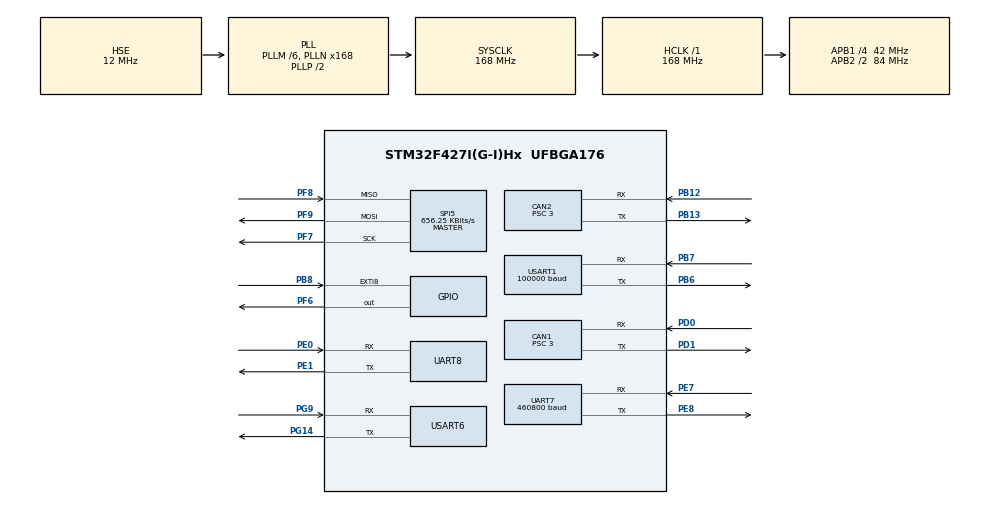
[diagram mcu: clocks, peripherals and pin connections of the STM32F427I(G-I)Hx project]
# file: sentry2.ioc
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CAN1.BS1=CAN_BS1_10TQ
CAN1.BS2=CAN_BS2_3TQ
CAN1.CalculateBaudRate=1000000
CAN1.CalculateTimeBit=1000
CAN1.CalculateTimeQuantum=71.42857142857143
CAN1.Prescaler=3
CAN2.BS1=CAN_BS1_10TQ
CAN2.BS2=CAN_BS2_3TQ
CAN2.CalculateBaudRate=1000000
CAN2.CalculateTimeBit=1000
CAN2.CalculateTimeQuantum=71.42857142857143
CAN2.Prescaler=3
Dma.Request0=USART6_RX
Dma.Request1=USART6_TX
Dma.Request2=USART1_RX
Dma.Request3=UART7_TX
Dma.Request4=UART8_RX
Dma.UART7_TX.3.Direction=DMA_MEMORY_TO_PERIPH
Dma.UART7_TX.3.FIFOMode=DMA_FIFOMODE_DISABLE
Dma.UART7_TX.3.Instance=DMA1_Stream1
Dma.UART7_TX.3.MemDataAlignment=DMA_MDATAALIGN_BYTE
Dma.UART7_TX.3.MemInc=DMA_MINC_ENABLE
Dma.UART7_TX.3.Mode=DMA_NORMAL
Dma.UART7_TX.3.PeriphDataAlignment=DMA_PDATAALIGN_BYTE
Dma.UART7_TX.3.PeriphInc=DMA_PINC_DISABLE
Dma.UART7_TX.3.Priority=DMA_PRIORITY_LOW
Dma.UART8_RX.4.Direction=DMA_PERIPH_TO_MEMORY
Dma.UART8_RX.4.FIFOMode=DMA_FIFOMODE_DISABLE
Dma.UART8_RX.4.Instance=DMA1_Stream6
Dma.UART8_RX.4.MemDataAlignment=DMA_MDATAALIGN_BYTE
Dma.UART8_RX.4.MemInc=DMA_MINC_ENABLE
Dma.UART8_RX.4.Mode=DMA_NORMAL
Dma.UART8_RX.4.PeriphDataAlignment=DMA_PDATAALIGN_BYTE
Dma.UART8_RX.4.PeriphInc=DMA_PINC_DISABLE
Dma.UART8_RX.4.Priority=DMA_PRIORITY_LOW
Dma.USART1_RX.2.Direction=DMA_PERIPH_TO_MEMORY
Dma.USART1_RX.2.FIFOMode=DMA_FIFOMODE_DISABLE
Dma.USART1_RX.2.Instance=DMA2_Stream2
Dma.USART1_RX.2.MemDataAlignment=DMA_MDATAALIGN_BYTE
Dma.USART1_RX.2.MemInc=DMA_MINC_ENABLE
Dma.USART1_RX.2.Mode=DMA_CIRCULAR
Dma.USART1_RX.2.PeriphDataAlignment=DMA_PDATAALIGN_BYTE
Dma.USART1_RX.2.PeriphInc=DMA_PINC_DISABLE
Dma.USART1_RX.2.Priority=DMA_PRIORITY_LOW
Dma.USART6_RX.0.Direction=DMA_PERIPH_TO_MEMORY
Dma.USART6_RX.0.FIFOMode=DMA_FIFOMODE_DISABLE
Dma.USART6_RX.0.Instance=DMA2_Stream1
Dma.USART6_RX.0.MemDataAlignment=DMA_MDATAALIGN_BYTE
Dma.USART6_RX.0.MemInc=DMA_MINC_ENABLE
Dma.USART6_RX.0.Mode=DMA_CIRCULAR
Dma.USART6_RX.0.PeriphDataAlignment=DMA_PDATAALIGN_BYTE
Dma.USART6_RX.0.PeriphInc=DMA_PINC_DISABLE
Dma.USART6_RX.0.Priority=DMA_PRIORITY_LOW
Dma.USART6_TX.1.Direction=DMA_MEMORY_TO_PERIPH
Dma.USART6_TX.1.FIFOMode=DMA_FIFOMODE_DISABLE
Dma.USART6_TX.1.Instance=DMA2_Stream6
Dma.USART6_TX.1.MemDataAlignment=DMA_MDATAALIGN_BYTE
Dma.USART6_TX.1.MemInc=DMA_MINC_ENABLE
Dma.USART6_TX.1.Mode=DMA_NORMAL
Dma.USART6_TX.1.PeriphDataAlignment=DMA_PDATAALIGN_BYTE
Dma.USART6_TX.1.PeriphInc=DMA_PINC_DISABLE
Dma.USART6_TX.1.Priority=DMA_PRIORITY_LOW
Mcu.Family=STM32F4
Mcu.Name=STM32F427I(G-I)Hx
Mcu.Package=UFBGA176
NVIC.CAN1_RX0_IRQn=true\:0\:0\:false\:false\:true\:true\:true\:true
NVIC.CAN2_RX0_IRQn=true\:0\:0\:false\:false\:true\:true\:true\:true
NVIC.DMA1_Stream1_IRQn=true\:0\:0\:false\:false\:true\:false\:true\:true
NVIC.DMA1_Stream6_IRQn=true\:0\:0\:false\:false\:true\:false\:true\:true
NVIC.DMA2_Stream1_IRQn=true\:0\:0\:false\:false\:true\:false\:true\:true
NVIC.DMA2_Stream2_IRQn=true\:0\:0\:false\:false\:true\:false\:true\:true
NVIC.DMA2_Stream6_IRQn=true\:0\:0\:false\:false\:true\:false\:true\:true
NVIC.EXTI9_5_IRQn=true\:5\:0\:true\:false\:true\:true\:true\:true
NVIC.PriorityGroup=NVIC_PRIORITYGROUP_4
NVIC.TIM6_DAC_IRQn=true\:15\:0\:false\:false\:true\:false\:true\:true
NVIC.TimeBase=TIM6_DAC_IRQn
NVIC.TimeBaseIP=TIM6
NVIC.UART7_IRQn=true\:0\:0\:false\:false\:true\:true\:true\:true
NVIC.UART8_IRQn=true\:0\:0\:false\:false\:true\:true\:true\:true
NVIC.USART1_IRQn=true\:1\:0\:true\:false\:true\:true\:true\:true
NVIC.USART6_IRQn=true\:4\:0\:true\:false\:true\:true\:true\:true
PB12.Mode=CAN_Activate
PB12.Signal=CAN2_RX
PB13.Mode=CAN_Activate
PB13.Signal=CAN2_TX
PB6.Mode=Asynchronous
PB6.Signal=USART1_TX
PB7.Mode=Asynchronous
PB7.Signal=USART1_RX
PB8.Signal=GPXTI8
PD0.Mode=CAN_Activate
PD0.Signal=CAN1_RX
PD1.Mode=CAN_Activate
PD1.Signal=CAN1_TX
PE0.Mode=Asynchronous
PE0.Signal=UART8_RX
PE1.Mode=Asynchronous
PE1.Signal=UART8_TX
PE7.Mode=Asynchronous
PE7.Signal=UART7_RX
PE8.Mode=Asynchronous
PE8.Signal=UART7_TX
PF6.GPIO_Speed=GPIO_SPEED_FREQ_VERY_HIGH
PF6.PinState=GPIO_PIN_SET
PF6.Signal=GPIO_Output
PF7.Mode=Full_Duplex_Master
PF7.Signal=SPI5_SCK
PF8.Mode=Full_Duplex_Master
PF8.Signal=SPI5_MISO
PF9.Mode=Full_Duplex_Master
PF9.Signal=SPI5_MOSI
PG14.Mode=Asynchronous
PG14.Signal=USART6_TX
PG9.Mode=Asynchronous
PG9.Signal=USART6_RX
PH0/OSC_IN.Mode=HSE-External-Oscillator
PH0/OSC_IN.Signal=RCC_OSC_IN
PH1/OSC_OUT.Mode=HSE-External-Oscillator
PH1/OSC_OUT.Signal=RCC_OSC_OUT
ProjectManager.HeapSize=0x200
ProjectManager.StackSize=0x400
ProjectManager.TargetToolchain=MDK-ARM V5.32
RCC.48MHZClocksFreq_Value=84000000
RCC.AHBFreq_Value=168000000
RCC.APB1CLKDivider=RCC_HCLK_DIV4
RCC.APB1Freq_Value=42000000
RCC.APB1TimFreq_Value=84000000
RCC.APB2CLKDivider=RCC_HCLK_DIV2
RCC.APB2Freq_Value=84000000
RCC.APB2TimFreq_Value=168000000
RCC.CortexFreq_Value=168000000
RCC.HCLKFreq_Value=168000000
RCC.HSE_VALUE=12000000
RCC.HSI_VALUE=16000000
RCC.LSE_VALUE=32768
RCC.PLLM=6
RCC.PLLN=168
RCC.PLLSourceVirtual=RCC_PLLSOURCE_HSE
RCC.SYSCLKFreq_VALUE=168000000
RCC.SYSCLKSource=RCC_SYSCLKSOURCE_PLLCLK
RCC.VCOOutputFreq_Value=336000000
SPI5.BaudRatePrescaler=SPI_BAUDRATEPRESCALER_128
SPI5.CLKPhase=SPI_PHASE_2EDGE
SPI5.CLKPolarity=SPI_POLARITY_HIGH
SPI5.CalculateBaudRate=656.25 KBits/s
SPI5.Direction=SPI_DIRECTION_2LINES
SPI5.Mode=SPI_MODE_MASTER
SPI5.VirtualType=VM_MASTER
UART7.BaudRate=460800
UART7.VirtualMode=Asynchronous
UART8.VirtualMode=Asynchronous
USART1.BaudRate=100000
USART1.Parity=PARITY_EVEN
USART1.VirtualMode=VM_ASYNC
USART1.WordLength=WORDLENGTH_9B
USART6.VirtualMode=VM_ASYNC
VP_SYS_VS_tim6.Mode=TIM6
board=custom

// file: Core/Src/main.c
/* USER CODE BEGIN Header */
/**
  ******************************************************************************
  * @file           : main.c
  * @brief          : Main program body
  ******************************************************************************
  * @attention
  *
  * Copyright (c) 2026 STMicroelectronics.
  * All rights reserved.
  *
  * This software is licensed under terms that can be found in the LICENSE file
  * in the root directory of this software component.
  * If no LICENSE file comes with this software, it is provided AS-IS.
  *
  ******************************************************************************
  */
/* USER CODE END Header */
#include "main.h"
#include "can.h"
#include "dma.h"
#include "spi.h"
#include "usart.h"
#include "gpio.h"

/* USER CODE BEGIN Includes */
#include "bsp_can.h"
#include "gimbal.h"
#include "bsp_serial.h"
#include "vision.h"
#include "bsp_imu.h"
#include "mahony.h"
#include "shoot.h"
#include "bsp_uart8.h"
/* USER CODE END Includes */

void SystemClock_Config(void);

int main(void)
{

  /* MCU Configuration--------------------------------------------------------*/

  /* Reset of all peripherals, Initializes the Flash interface and the Systick. */
  HAL_Init();

  /* Configure the system clock */
  SystemClock_Config();

  /* Initialize all configured peripherals */
  MX_GPIO_Init();
  MX_DMA_Init();
  MX_CAN1_Init();
  MX_CAN2_Init();
  MX_SPI5_Init();
  MX_USART6_UART_Init();
  MX_USART1_UART_Init();
  MX_UART7_Init();
  MX_UART8_Init();
  /* USER CODE BEGIN 2 */
BSP_CAN_Init();
  BSP_IMU_Init();
  Gimbal_Init();
  Shoot_Init();
  // 视觉串口初始化 (开启空闲中断和第一次 DMA)
  BSP_Vision_Init();
	BSP_UART8_Init();
  /* USER CODE END 2 */

  /* Infinite loop */
  while (1)
  {

  }
}

void SystemClock_Config(void)
{
  RCC_OscInitTypeDef RCC_OscInitStruct = {0};
  RCC_ClkInitTypeDef RCC_ClkInitStruct = {0};

  /** Configure the main internal regulator output voltage
  */
  __HAL_RCC_PWR_CLK_ENABLE();
  __HAL_PWR_VOLTAGESCALING_CONFIG(PWR_REGULATOR_VOLTAGE_SCALE1);

  /** Initializes the RCC Oscillators according to the specified parameters
  * in the RCC_OscInitTypeDef structure.
  */
  RCC_OscInitStruct.OscillatorType = RCC_OSCILLATORTYPE_HSE;
  RCC_OscInitStruct.HSEState = RCC_HSE_ON;
  RCC_OscInitStruct.PLL.PLLState = RCC_PLL_ON;
  RCC_OscInitStruct.PLL.PLLSource = RCC_PLLSOURCE_HSE;
  RCC_OscInitStruct.PLL.PLLM = 6;
  RCC_OscInitStruct.PLL.PLLN = 168;
  RCC_OscInitStruct.PLL.PLLP = RCC_PLLP_DIV2;
  RCC_OscInitStruct.PLL.PLLQ = 4;
  if (HAL_RCC_OscConfig(&RCC_OscInitStruct) != HAL_OK)
  {
    Error_Handler();
  }

  /** Initializes the CPU, AHB and APB buses clocks
  */
  RCC_ClkInitStruct.ClockType = RCC_CLOCKTYPE_HCLK|RCC_CLOCKTYPE_SYSCLK
                              |RCC_CLOCKTYPE_PCLK1|RCC_CLOCKTYPE_PCLK2;
  RCC_ClkInitStruct.SYSCLKSource = RCC_SYSCLKSOURCE_PLLCLK;
  RCC_ClkInitStruct.AHBCLKDivider = RCC_SYSCLK_DIV1;
  RCC_ClkInitStruct.APB1CLKDivider = RCC_HCLK_DIV4;
  RCC_ClkInitStruct.APB2CLKDivider = RCC_HCLK_DIV2;

  if (HAL_RCC_ClockConfig(&RCC_ClkInitStruct, FLASH_LATENCY_5) != HAL_OK)
  {
    Error_Handler();
  }
}

void HAL_TIM_PeriodElapsedCallback(TIM_HandleTypeDef *htim)
{
  if (htim->Instance == TIM6)
  {
    HAL_IncTick();
  }
  /* USER CODE BEGIN Callback 1 */
    // 1. 读取 IMU 原始数据
    BSP_IMU_Update();

    // 2. 运行姿态解算 (注意这里的轴向映射，就是你之前转了 90 度的补丁)
    Mahony_Update(imu_data.gy, -imu_data.gx, imu_data.gz,
                  imu_data.ay, -imu_data.ax, imu_data.az);

    // 3. 运行云台控制主任务 (计算 PID、发 CAN、发串口波形)
    Gimbal_Task();
		Shoot_Task();
    // 4. 定频 (200Hz) 发送自身姿态给视觉上位机
    static uint8_t vision_cnt = 0;
    if (++vision_cnt >= 5) {
        Vision_Send_Task();
        vision_cnt = 0;
    }
  /* USER CODE END Callback 1 */
}

void Error_Handler(void)
{
  /* USER CODE BEGIN Error_Handler_Debug */
  __disable_irq();

  // 2. 调用 ARM Cortex-M 内核的系统复位函数，效果等同于按了一次 Reset 键
  NVIC_SystemReset();

  while (1)
  {
  }
  /* USER CODE END Error_Handler_Debug */
}
